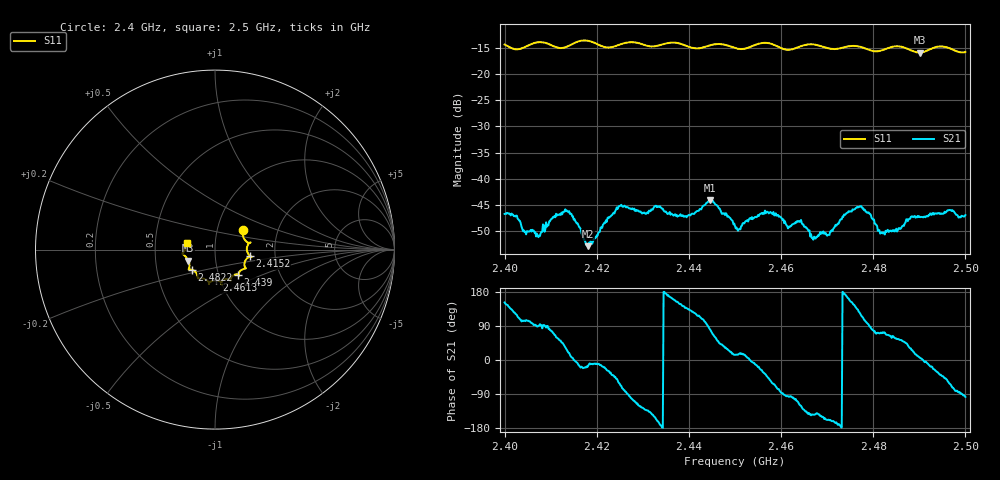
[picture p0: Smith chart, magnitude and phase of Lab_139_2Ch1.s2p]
# Hz S RI R 50
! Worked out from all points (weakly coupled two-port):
!   601 points, 2.4 GHz to 2.5 GHz, reference 50 ohm
!   highest |S21| = -44.07 dB at 2.4445 GHz (marker M1); lowest = -52.9 dB at 2.418 GHz (marker M2)
!   lowest |S11| = -15.9 dB at 2.4902 GHz (marker M3), VSWR 1.38, Z = 36.8 - j4.64 ohm
!   |S11| at or under -10 dB: start of sweep to end of sweep
!   S12 and S22 are empty: the file has one direction only
!   S11 on the Smith chart (normalised r, x): 2.4 GHz: 1.33, +0.31; 2.4152 GHz: 1.48, -0.11; 2.439 GHz: 1.24, -0.36; 2.4613 GHz: 0.96, -0.34; 2.4822 GHz: 0.76, -0.17; 2.5 GHz: 0.72, +0.05
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2.4e9  0.156 0.1111  -0.00408 0.00217  0 0  0 0
2.407333e9  0.1978 0.0389  -3.77e-06 0.00277  0 0  0 0
2.413167e9  0.1799 -0.0116  0.00424 0.00285  0 0  0 0
2.415167e9  0.1949 -0.0359  0.00412 -7.24e-05  0 0  0 0
2.416667e9  0.2045 -0.0416  0.00291 -0.000923  0 0  0 0
2.418e9  0.2044 -0.04  0.00216 -0.000711  0 0  0 0
2.424833e9  0.1656 -0.0944  0.00266 -0.0048  0 0  0 0
2.430333e9  0.1551 -0.1097  -0.00301 -0.00369  0 0  0 0
2.433333e9  0.1327 -0.1321  -0.00515 -0.00161  0 0  0 0
2.439e9  0.1284 -0.139  -0.00337 0.00276  0 0  0 0
2.4445e9  0.085 -0.1677  0.000845 0.0062  0 0  0 0
2.45e9  0.0688 -0.164  0.00344 0.000846  0 0  0 0
2.457e9  0.0394 -0.1943  0.00349 -0.00337  0 0  0 0
2.461333e9  0.00709 -0.1705  -0.000316 -0.00352  0 0  0 0
2.464e9  -0.027 -0.1809  -0.00182 -0.00343  0 0  0 0
2.466667e9  -0.0333 -0.1897  -0.0022 -0.0016  0 0  0 0
2.470333e9  -0.0459 -0.1698  -0.0027 -0.00111  0 0  0 0
2.477e9  -0.0946 -0.1568  -0.00316 0.00439  0 0  0 0
2.482167e9  -0.1279 -0.1124  0.000977 0.0029  0 0  0 0
2.483333e9  -0.1392 -0.1109  0.00127 0.00283  0 0  0 0
2.490167e9  -0.1484 -0.0614  0.00428 0.000424  0 0  0 0
2.5e9  -0.1588 0.034  -0.000577 -0.00446  0 0  0 0
